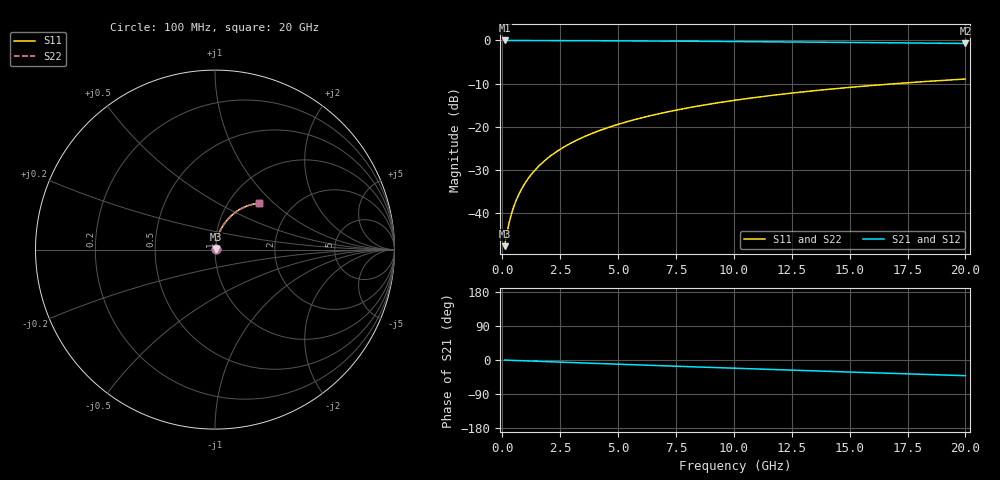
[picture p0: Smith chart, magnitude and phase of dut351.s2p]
! Touchstone file exported from HFSS 2026.1.0
!  File:  C:/ffzhzh/LocalFiles/Ansys_Project_Files/temp_train_BSMRDL_351_1783011417_4048.aedt
!  Generated:  12:58:34 AM Jul  3, 2026
!  Design:  BSMRDL
!  Project:  temp_train_BSMRDL_351_1783011417_4048
! Variables:
!  h_bsmrdl = 5.01um
!  h_ox = 20um
!  h_rdl = 5um
!  h_sub = 80um
!  h_tmrdl = 5um
!  h_tsv = 80um
!  h_via = 3um
!  l_bsmrdl = 640.79um
!  l_sub = 1040.79um
!  l_tmrdl = 200um
!  m_sub = 200um
!  pitch = 33.1um
!  r_tsv = 6um
!  s_tmrdl = 10um
!  w_bsmrdl = 13.7um
!  w_sub = 500um
!  w_tmrdl = 12um
!  x_tsv_center1 = 206um
!  x_tsv_center2 = 860.49um
!  x_tsv_center3 = 1072.49um
!  x_tsv_center4 = 1726.98um
!  x_tsv_center5 = 1938.98um
!  x_tsv_center6 = 2593.47um
# GHz S MA R 50.000000
! Terminal data exported
! Port[1] = BSM_RDL1_1_T1
! Port[2] = BSM_RDL1_1_T2
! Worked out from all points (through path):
!   200 points, 100 MHz to 20 GHz, reference 50 ohm
!   highest |S21| = -0.03 dB at 100 MHz (marker M1); lowest = -0.7 dB at 20 GHz (marker M2)
!   group delay of S21, straight-line fit = 5.74 ps
!   lowest |S11| = -47.7 dB at 100 MHz (marker M3), VSWR 1.01, Z = 50.3 + j0.238 ohm
!   |S11| at or under -10 dB: start of sweep to 17.06 GHz
!   |S22| runs from -47.7 to -9.0 dB; largest |S21 - S12| = 2.7e-15
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0.1  0.004136 34.9  0.9966 -0.2  0.9966 -0.2  0.004136 34.9
! Gamma 0 0 0 0
! Port Impedance 50 0 50 0
0.2  0.005853 52.8  0.9965 -0.5  0.9965 -0.5  0.005853 52.8
0.3  0.007821 61.6  0.9963 -0.7  0.9963 -0.7  0.007821 61.6
0.4  0.009861 66.8  0.9962 -0.9  0.9962 -0.9  0.009861 66.8
0.5  0.01194 70.2  0.9961 -1.1  0.9961 -1.1  0.01194 70.2
0.6  0.01403 72.5  0.996 -1.4  0.996 -1.4  0.01403 72.5
0.8  0.01828 75.5  0.9958 -1.8  0.9958 -1.8  0.01828 75.5
1.1  0.02471 77.8  0.9955 -2.5  0.9955 -2.5  0.02471 77.8
1.3  0.02902 78.6  0.9953 -2.9  0.9953 -2.9  0.02902 78.6
1.6  0.03549 79.2  0.9949 -3.6  0.9949 -3.6  0.03549 79.2
2.1  0.04624 79.3  0.9941 -4.7  0.9941 -4.7  0.04624 79.3
2.7  0.05902 78.8  0.993 -6.1  0.993 -6.1  0.05902 78.8
3.5  0.07582 77.6  0.9911 -7.8  0.9911 -7.8  0.07582 77.6
4.2  0.09028 76.4  0.9893 -9.4  0.9893 -9.4  0.09028 76.4
5  0.1065 74.9  0.9869 -11.1  0.9869 -11.1  0.1065 74.9
5.9  0.1244 73.2  0.9841 -13.0  0.9841 -13.0  0.1244 73.2
6.8  0.142 71.4  0.981 -15.0  0.981 -15.0  0.142 71.4
8.3  0.1705 68.5  0.9754 -18.1  0.9754 -18.1  0.1705 68.5
10.1  0.2034 65.0  0.9681 -21.9  0.9681 -21.9  0.2034 65.0
13.4  0.2599 58.7  0.9533 -28.6  0.9533 -28.6  0.2599 58.7
16.7  0.311 52.5  0.9371 -35.1  0.9371 -35.1  0.3111 52.5
20  0.3565 46.4  0.9203 -41.4  0.9203 -41.4  0.3565 46.4
